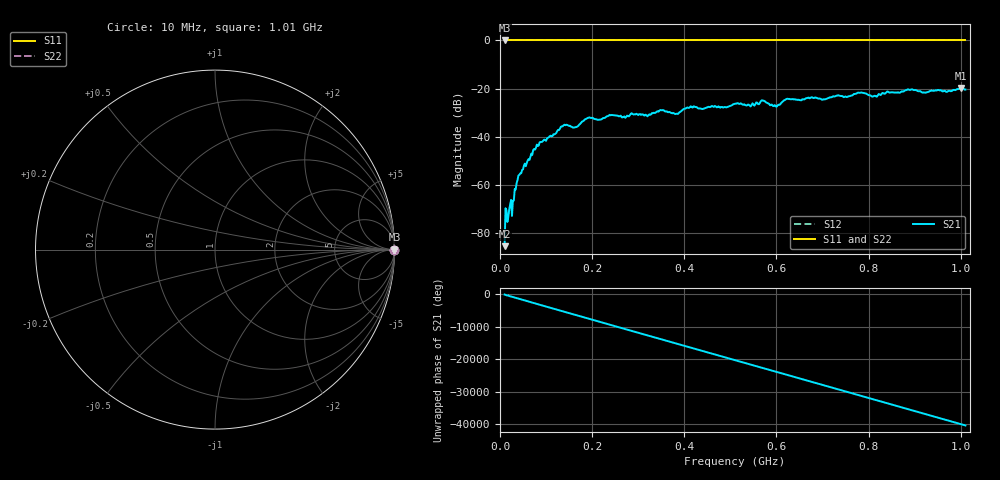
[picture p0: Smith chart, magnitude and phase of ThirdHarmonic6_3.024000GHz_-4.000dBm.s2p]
! 8/17/2025 8:42:34 AM
! C:\ANRITSUVNA\TEMP\TEMP.S2P
! CHANNEL.1
! TR.MEASUREMENT
! RAW.DATA
! RF.CORRECTION.OFF
! AVERAGING.OFF
! IF.BANDWIDTH: 5KHZ
! SWEEPTYPE:  FREQ.SWEEP(Linear)
! Reference Plane Port Info
! PORT:  PORT1  PORT2
! DISTANCE:  0  m  0  m
! TIME:  0  s  0  s
! PHASE.OFFSET:  0  deg.  0  deg.
! LOSS:  0  dB  0  dB
! REF.LOSS:  0  dB  0  dB
! REF.FREQ:  0  Hz  0  Hz
! Power Info
! POWER:  -20  dBm  -20  dBm
! EFF.POWER:  -20  dBm  -20  dBm
! SOURCE.ATTEN:  0  dB  0  dB
! TEST.ATTEN:  0  dB  0  dB
# GHZ S RI R 50.0
! FREQ.GHZ  S11RE  S11IM  S21RE  S21IM  S12RE  S12IM  S22RE  S22IM
!; PortSelection: Port_12
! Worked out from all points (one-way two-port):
!   501 points, 10 MHz to 1.01 GHz, reference 50 ohm
!   highest |S21| = -19.74 dB at 1 GHz (marker M1); lowest = -85.5 dB at 10 MHz (marker M2)
!   lowest |S11| = 0.0 dB at 10 MHz (marker M3)
!   |S11| at or under -10 dB: nowhere
!   |S22| runs from 0.0 to 0.0 dB; largest |S21 - S12| = 1.1
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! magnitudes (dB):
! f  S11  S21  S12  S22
! 10 MHz  0.0  -85.5  0.0  0.0
! 30 MHz  0.0  -66.5  0.0  0.0
! 40 MHz  0.0  -56.1  0.0  0.0
! 76 MHz  0.0  -45.4  0.0  0.0
! 136 MHz  0.0  -35.7  0.0  0.0
! 162 MHz  0.0  -36.1  0.0  0.0
! 178 MHz  0.0  -33.7  0.0  0.0
! 192 MHz  0.0  -32.1  0.0  0.0
! 318 MHz  0.0  -31.1  0.0  0.0
! 344 MHz  0.0  -29.6  0.0  0.0
! 382 MHz  0.0  -30.5  0.0  0.0
! 410 MHz  0.0  -28.1  0.0  0.0
! 510 MHz  0.0  -26.3  0.0  0.0
! 548 MHz  0.0  -26.1  0.0  0.0
! 570 MHz  0.0  -25.0  0.0  0.0
! 598 MHz  0.0  -27.2  0.0  0.0
! 624 MHz  0.0  -24.2  0.0  0.0
! 678 MHz  0.0  -23.6  0.0  0.0
! 814 MHz  0.0  -23.0  0.0  0.0
! 844 MHz  0.0  -21.6  0.0  0.0
! 1 GHz  0.0  -19.7  0.0  0.0
! 1.01 GHz  0.0  -20.4  0.0  0.0
